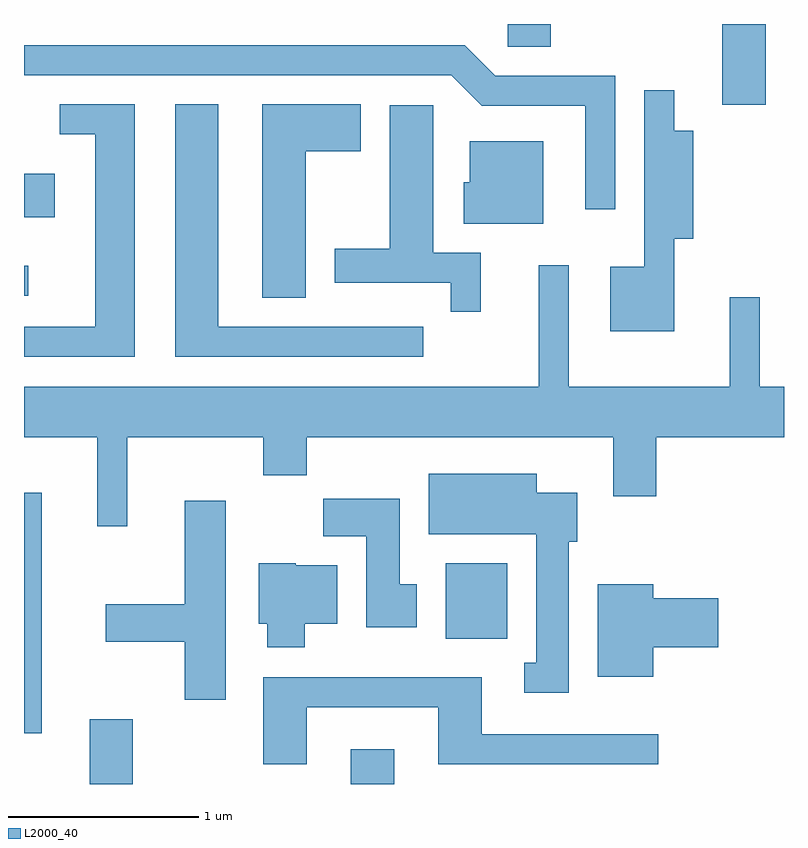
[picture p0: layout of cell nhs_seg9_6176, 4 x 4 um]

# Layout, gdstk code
import gdstk
lib = gdstk.Library(unit=1e-6, precision=1e-09)
def R(c, l, rs):  # rectangles x0, y0, x1, y1
    for r in rs: c.add(gdstk.rectangle(r[:2], r[2:], *l))
def P(c, l, *ps):  # polygons
    for p in ps: c.add(gdstk.Polygon(p, *l))
L2000_40 = (2000, 40)

nhs_seg9_6176 = lib.new_cell('nhs_seg9_6176')
R(nhs_seg9_6176, L2000_40, [(367.956,1994.432,368.184,1994.774), (369.331,1994.432,369.559,1994.614), (367.611,1994.698,367.704,1995.964), (369.831,1995.196,370.154,1995.594), (367.611,1997.001,367.633,1997.159), (367.611,1997.416,367.774,1997.644), (371.286,1998.006,371.514,1998.432), (370.156,1998.311,370.384,1998.432)])
P(nhs_seg9_6176, L2000_40, [(370.724,1998.159),(370.092,1998.159),(369.932,1998.319),(367.611,1998.319),(367.611,1998.161),(369.859,1998.161),(370.019,1998.001),(370.566,1998.001),(370.566,1997.458),(370.724,1997.458)],
  [(371.034,1997.301),(371.134,1997.301),(371.134,1997.869),(371.034,1997.869),(371.034,1998.083),(370.876,1998.083),(370.876,1997.154),(370.696,1997.154),(370.696,1996.816),(371.034,1996.816)],
  [(369.713,1996.839),(368.634,1996.839),(368.634,1998.009),(368.406,1998.009),(368.406,1996.681),(369.713,1996.681)],
  [(369.094,1997.761),(369.384,1997.761),(369.384,1998.009),(368.866,1998.009),(368.866,1996.991),(369.094,1996.991)],
  [(368.194,1998.009),(367.798,1998.009),(367.798,1997.851),(367.986,1997.851),(367.986,1996.839),(367.611,1996.839),(367.611,1996.681),(368.194,1996.681)],
  [(370.014,1997.229),(369.764,1997.229),(369.764,1998.004),(369.536,1998.004),(369.536,1997.249),(369.246,1997.249),(369.246,1997.071),(369.856,1997.071),(369.856,1996.918),(370.014,1996.918)],
  [(370.344,1997.814),(369.956,1997.814),(369.956,1997.599),(369.926,1997.599),(369.926,1997.381),(370.344,1997.381)],
  [(368.154,1996.256),(368.871,1996.256),(368.871,1996.056),(369.099,1996.056),(369.099,1996.256),(370.711,1996.256),(370.711,1995.946),(370.939,1995.946),(370.939,1996.256),(371.611,1996.256),(371.611,1996.524),(371.484,1996.524),(371.484,1996.993),(371.326,1996.993),(371.326,1996.524),(370.479,1996.524),(370.479,1997.163),(370.321,1997.163),(370.321,1996.524),(367.611,1996.524),(367.611,1996.256),(367.996,1996.256),(367.996,1995.788),(368.154,1995.788)],
  [(370.479,1995.706),(370.524,1995.706),(370.524,1995.964),(370.309,1995.964),(370.309,1996.064),(369.741,1996.064),(369.741,1995.746),(370.306,1995.746),(370.306,1995.069),(370.243,1995.069),(370.243,1994.911),(370.479,1994.911)],
  [(369.679,1995.484),(369.589,1995.484),(369.589,1995.934),(369.186,1995.934),(369.186,1995.736),(369.411,1995.736),(369.411,1995.256),(369.679,1995.256)],
  [(368.674,1995.924),(368.456,1995.924),(368.456,1995.379),(368.041,1995.379),(368.041,1995.181),(368.456,1995.181),(368.456,1994.876),(368.674,1994.876)],
  [(369.089,1995.276),(369.259,1995.276),(369.259,1995.584),(369.04,1995.584),(369.04,1995.594),(368.846,1995.594),(368.846,1995.276),(368.891,1995.276),(368.891,1995.151),(369.089,1995.151)],
  [(370.924,1995.151),(371.264,1995.151),(371.264,1995.409),(370.924,1995.409),(370.924,1995.484),(370.631,1995.484),(370.631,1994.996),(370.924,1994.996)],
  [(369.099,1994.836),(369.791,1994.836),(369.791,1994.536),(370.948,1994.536),(370.948,1994.694),(370.019,1994.694),(370.019,1994.994),(368.871,1994.994),(368.871,1994.536),(369.099,1994.536)])

lib.write_gds('nhs_seg9_6176.gds')
